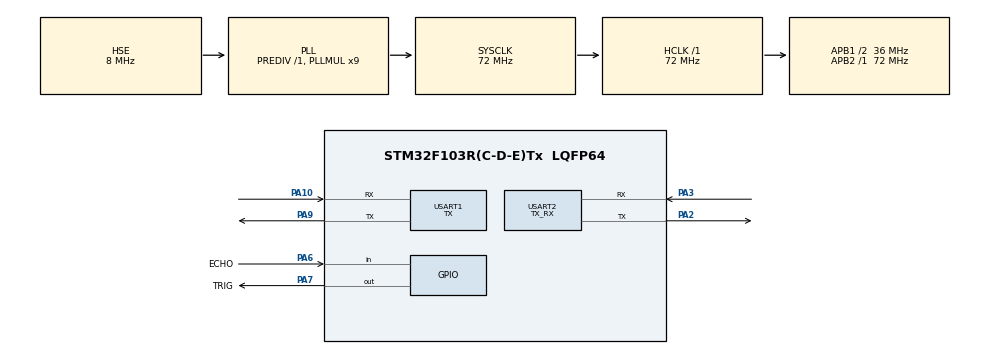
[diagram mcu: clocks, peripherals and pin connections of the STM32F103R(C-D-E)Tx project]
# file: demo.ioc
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Mcu.Family=STM32F1
Mcu.Name=STM32F103R(C-D-E)Tx
Mcu.Package=LQFP64
NVIC.PriorityGroup=NVIC_PRIORITYGROUP_4
NVIC.USART1_IRQn=true\:0\:0\:false\:false\:true\:true\:true\:true
PA10.Mode=Asynchronous
PA10.Signal=USART1_RX
PA13.Mode=Serial_Wire
PA13.Signal=SYS_JTMS-SWDIO
PA14.Mode=Serial_Wire
PA14.Signal=SYS_JTCK-SWCLK
PA2.Mode=Asynchronous
PA2.Signal=USART2_TX
PA3.Mode=Asynchronous
PA3.Signal=USART2_RX
PA6.GPIO_Label=ECHO
PA6.GPIO_PuPd=GPIO_PULLDOWN
PA6.Signal=GPIO_Input
PA7.GPIO_Label=TRIG
PA7.Signal=GPIO_Output
PA9.Mode=Asynchronous
PA9.Signal=USART1_TX
PD0-OSC_IN.Mode=HSE-External-Oscillator
PD0-OSC_IN.Signal=RCC_OSC_IN
PD1-OSC_OUT.Mode=HSE-External-Oscillator
PD1-OSC_OUT.Signal=RCC_OSC_OUT
ProjectManager.HeapSize=0x200
ProjectManager.StackSize=0x400
ProjectManager.TargetToolchain=MDK-ARM V5
RCC.AHBFreq_Value=72000000
RCC.APB1CLKDivider=RCC_HCLK_DIV2
RCC.APB1Freq_Value=36000000
RCC.APB1TimFreq_Value=72000000
RCC.APB2Freq_Value=72000000
RCC.APB2TimFreq_Value=72000000
RCC.HCLKFreq_Value=72000000
RCC.PLLMUL=RCC_PLL_MUL9
RCC.PLLSourceVirtual=RCC_PLLSOURCE_HSE
RCC.SYSCLKFreq_VALUE=72000000
RCC.SYSCLKSource=RCC_SYSCLKSOURCE_PLLCLK
RCC.USBFreq_Value=72000000
TIM3.Prescaler=72-1
USART1.Mode=MODE_TX
USART1.VirtualMode=VM_ASYNC
USART2.Mode=MODE_TX_RX
USART2.VirtualMode=VM_ASYNC
VP_TIM3_VS_ClockSourceINT.Mode=Internal
board=custom

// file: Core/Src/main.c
/* USER CODE BEGIN Header */
/**
 ******************************************************************************
 * @file           : main.c
 * @brief          : Main program body
 ******************************************************************************
 * @attention
 *
 * <h2><center>&copy; Copyright (c) 2022 STMicroelectronics.
 * All rights reserved.</center></h2>
 *
 * This software component is licensed by ST under BSD 3-Clause license,
 * the "License"; You may not use this file except in compliance with the
 * License. You may obtain a copy of the License at:
 *                        opensource.org/licenses/BSD-3-Clause
 *
 ******************************************************************************
 */
/* USER CODE END Header */
#include "main.h"
#include "gpio.h"
#include "tim.h"
#include "usart.h"

void SystemClock_Config(void);

/* USER CODE BEGIN 0 */

void HAL_Delay_us(uint32_t us) {
    HAL_SYSTICK_Config(HAL_RCC_GetHCLKFreq() / 1000000);
    HAL_Delay(us - 1);
    HAL_SYSTICK_Config(HAL_RCC_GetHCLKFreq() / 1000);
}
double HC_SR04_Measure(TIM_HandleTypeDef* htim) {
    uint32_t tick_us;

    HAL_GPIO_WritePin(TRIG_GPIO_Port, TRIG_Pin, GPIO_PIN_SET);
    HAL_Delay_us(20);
    HAL_GPIO_WritePin(TRIG_GPIO_Port, TRIG_Pin, GPIO_PIN_RESET);

    __HAL_TIM_SetCounter(htim, 0);

    /* waitting for start of the high level through echo pin */
    while (HAL_GPIO_ReadPin(ECHO_GPIO_Port, ECHO_Pin) == GPIO_PIN_RESET) {}

    /* start the tim and enable the interrupt */
    HAL_TIM_Base_Start(htim);

    /* waitting for end of the high level through echo pin */
    while (HAL_GPIO_ReadPin(ECHO_GPIO_Port, ECHO_Pin) == GPIO_PIN_SET) {}

    /* stop the tim */
    HAL_TIM_Base_Stop(htim);

    /* get the time of high level */
    tick_us = __HAL_TIM_GetCounter(htim);

    /* calc distance in unit cm */
    return (double)(tick_us / 1000000.0) * 340.0 / 2.0 * 100.0;
}

/* USER CODE END 0 */

int main(void) {

    /* MCU Configuration--------------------------------------------------------*/

    /* Reset of all peripherals, Initializes the Flash interface and the Systick. */
    HAL_Init();

    /* Configure the system clock */
    SystemClock_Config();

    /* Initialize all configured peripherals */
    MX_GPIO_Init();
    MX_USART1_UART_Init();
    MX_USART2_UART_Init();
    MX_TIM3_Init();

    /* Infinite loop */
    /* USER CODE BEGIN WHILE */
    while (1) {
        printf("%.2f\r\n", HC_SR04_Measure(&htim3));  // cm
        HAL_Delay(1000);
        /* USER CODE END WHILE */

    }
}

void SystemClock_Config(void) {
    RCC_OscInitTypeDef RCC_OscInitStruct = {0};
    RCC_ClkInitTypeDef RCC_ClkInitStruct = {0};

    /** Initializes the RCC Oscillators according to the specified parameters
     * in the RCC_OscInitTypeDef structure.
     */
    RCC_OscInitStruct.OscillatorType = RCC_OSCILLATORTYPE_HSE;
    RCC_OscInitStruct.HSEState       = RCC_HSE_ON;
    RCC_OscInitStruct.HSEPredivValue = RCC_HSE_PREDIV_DIV1;
    RCC_OscInitStruct.HSIState       = RCC_HSI_ON;
    RCC_OscInitStruct.PLL.PLLState   = RCC_PLL_ON;
    RCC_OscInitStruct.PLL.PLLSource  = RCC_PLLSOURCE_HSE;
    RCC_OscInitStruct.PLL.PLLMUL     = RCC_PLL_MUL9;
    if (HAL_RCC_OscConfig(&RCC_OscInitStruct) != HAL_OK) {
        Error_Handler();
    }

    /** Initializes the CPU, AHB and APB buses clocks
     */
    RCC_ClkInitStruct.ClockType      = RCC_CLOCKTYPE_HCLK | RCC_CLOCKTYPE_SYSCLK | RCC_CLOCKTYPE_PCLK1 | RCC_CLOCKTYPE_PCLK2;
    RCC_ClkInitStruct.SYSCLKSource   = RCC_SYSCLKSOURCE_PLLCLK;
    RCC_ClkInitStruct.AHBCLKDivider  = RCC_SYSCLK_DIV1;
    RCC_ClkInitStruct.APB1CLKDivider = RCC_HCLK_DIV2;
    RCC_ClkInitStruct.APB2CLKDivider = RCC_HCLK_DIV1;

    if (HAL_RCC_ClockConfig(&RCC_ClkInitStruct, FLASH_LATENCY_2) != HAL_OK) {
        Error_Handler();
    }
}

void Error_Handler(void) {
}
